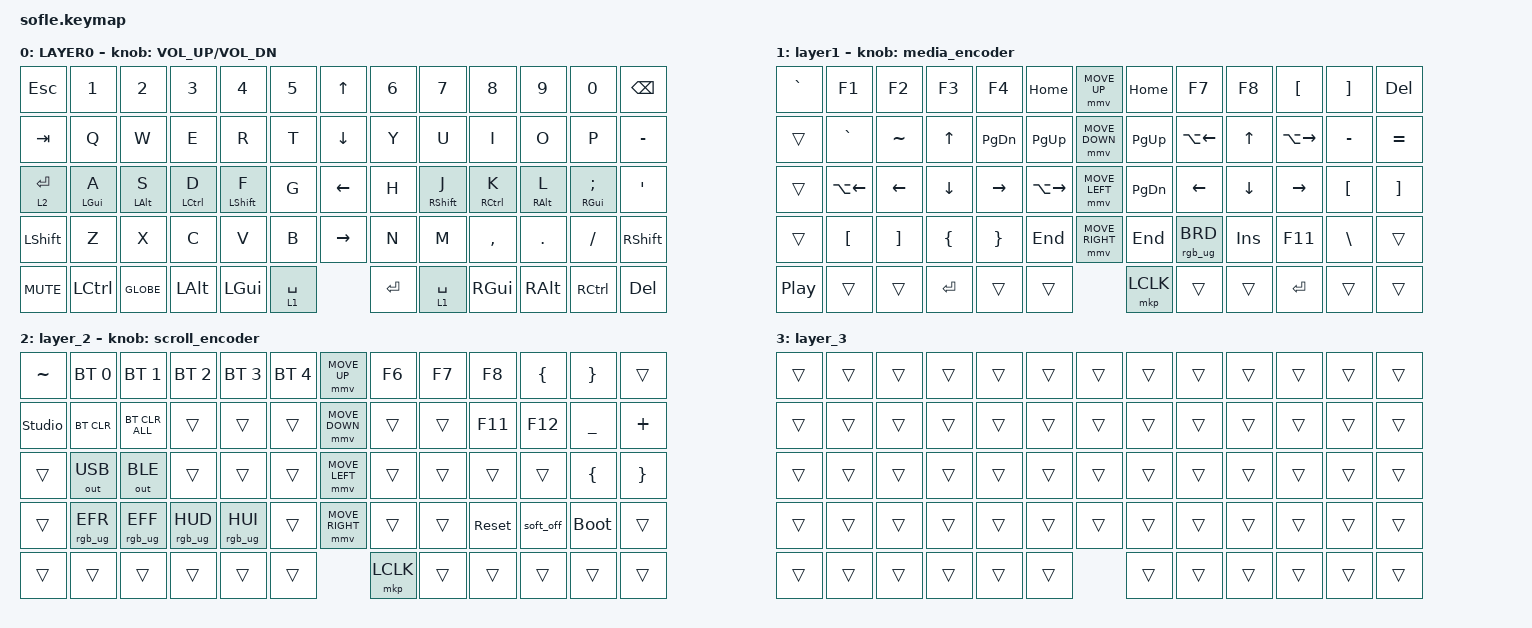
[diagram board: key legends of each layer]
#include <behaviors/mouse_keys.dtsi>
#include <dt-bindings/zmk/mouse.h>
#include <behaviors.dtsi>
#include <dt-bindings/zmk/bt.h>
#include <dt-bindings/zmk/keys.h>
#include <dt-bindings/zmk/outputs.h>
#include <dt-bindings/zmk/pointing.h>
#include <dt-bindings/zmk/pointing.h>
#include <dt-bindings/zmk/pointing.h>
#include <dt-bindings/zmk/rgb.h>

#define ZMK_MOUSE_DEFAULT_MOVE_VAL 6000  // 10x default for 3 monitor setup
#define ZMK_MOUSE_DEFAULT_SCRL_VAL 20    // 10
#define U_MS_U &mmv MOVE_UP
#define U_MS_D &mmv MOVE_DOWN
#define U_MS_L &mmv MOVE_LEFT
#define U_MS_R &mmv MOVE_RIGHT

/ {
    behaviors {
        mmv {
            acceleration-exponent = <2>;      // Higher acceleration for faster movement
            time-to-max-speed-ms = <200>;     // Reach max speed quickly
            delay-ms = <0>;                   // No initial delay
        };

        msc {
            acceleration-exponent = <1>;      // 0
            time-to-max-speed-ms = <400>;      // 500
            delay-ms = <0>;                   //   10
        };

        // Homerow mods with 250ms tapping term (50ms longer than default)
        hm_l: homerow_mods_left {
            compatible = "zmk,behavior-hold-tap";
            #binding-cells = <2>;
            tapping-term-ms = <250>;
            quick-tap-ms = <0>;
            flavor = "tap-preferred";
            bindings = <&kp>, <&kp>;
        };

        hm_r: homerow_mods_right {
            compatible = "zmk,behavior-hold-tap";
            #binding-cells = <2>;
            tapping-term-ms = <250>;
            quick-tap-ms = <0>;
            flavor = "tap-preferred";
            bindings = <&kp>, <&kp>;
        };

        // Space tap / Layer 1 hold
        spc_layer: space_layer {
            compatible = "zmk,behavior-hold-tap";
            #binding-cells = <2>;
            tapping-term-ms = <250>;
            quick-tap-ms = <200>;
            flavor = "tap-preferred";
            bindings = <&mo>, <&kp>;
        };

        // Alt tap / Enter hold
        alt_enter: alt_enter {
            compatible = "zmk,behavior-hold-tap";
            #binding-cells = <2>;
            tapping-term-ms = <250>;
            quick-tap-ms = <0>;
            flavor = "tap-preferred";
            bindings = <&kp>, <&kp>;
        };

        // Caps tap / Layer 2 hold
        caps_layer2: caps_layer2 {
            compatible = "zmk,behavior-hold-tap";
            #binding-cells = <2>;
            tapping-term-ms = <250>;
            quick-tap-ms = <0>;
            flavor = "tap-preferred";
            bindings = <&mo>, <&kp>;
        };
    };

    scroll_encoder: scroll_encoder {
        compatible = "zmk,behavior-sensor-rotate";
        #sensor-binding-cells = <0>;
        bindings = <&msc SCRL_DOWN>, <&msc SCRL_UP>;

        tap-ms = <30>;
    };

    rgb_brightness_encoder: rgb_brightness_encoder {
        compatible = "zmk,behavior-sensor-rotate";
        #sensor-binding-cells = <0>;
        bindings = <&rgb_ug RGB_BRD>, <&rgb_ug RGB_BRI>;

        tap-ms = <30>;
    };

    media_encoder: media_encoder {
        compatible = "zmk,behavior-sensor-rotate";
        #sensor-binding-cells = <0>;
        bindings = <&kp C_NEXT>, <&kp C_PREV>;

        tap-ms = <30>;
    };

    keymap {
        compatible = "zmk,keymap";

        layer0 {
            bindings = <
&kp ESC     &kp N1     &kp N2        &kp N3        &kp N4  &kp N5       &kp UP_ARROW     &kp N6     &kp N7     &kp N8     &kp N9           &kp N0      &kp BACKSPACE
&kp TAB     &kp Q      &kp W         &kp E         &kp R   &kp T        &kp DOWN_ARROW   &kp Y      &kp U      &kp I      &kp O            &kp P       &kp MINUS
&caps_layer2 2 ENTER    &hm_l LGUI A  &hm_l LALT S  &hm_l LCTRL D  &hm_l LSHFT F   &kp G        &kp LEFT_ARROW   &kp H      &hm_r RSHFT J  &hm_r RCTRL K  &hm_r RALT L     &hm_r RGUI SEMI  &kp APOS
&kp LSHFT   &kp Z      &kp X         &kp C         &kp V   &kp B        &kp RIGHT_ARROW  &kp N      &kp M      &kp COMMA  &kp DOT          &kp FSLH    &kp RSHFT
&kp C_MUTE  &kp LCTRL  &kp GLOBE  &kp LALT  &kp LGUI   &spc_layer 1 SPACE   &kp ENTER        &spc_layer 1 SPACE  &kp RGUI  &kp RALT      &kp RCTRL        &kp DELETE
            >;

            sensor-bindings = <&inc_dec_kp C_VOLUME_UP C_VOL_DN>;
            display-name = "LAYER0";   
        };

        layer_1 {
            bindings = <
&kp GRAVE   &kp F1           &kp F2          &kp F3           &kp F4           &kp HOME         &mmv MOVE_UP     &kp HOME         &kp F7           &kp F8           &kp LEFT_BRACKET     &kp RIGHT_BRACKET     &kp DELETE
&trans      &kp GRAVE        &kp TILDE       &kp UP_ARROW     &kp PG_DN        &kp PG_UP        &mmv MOVE_DOWN   &kp PG_UP        &kp LA(LEFT)     &kp UP      &kp LA(RIGHT)   &kp MINUS         &kp EQUAL
&trans      &kp LA(LEFT)     &kp LEFT_ARROW  &kp DOWN_ARROW   &kp RIGHT_ARROW  &kp LA(RIGHT)    &mmv MOVE_LEFT   &kp PG_DN        &kp LEFT         &kp DOWN    &kp RIGHT  &kp LEFT_BRACKET  &kp RIGHT_BRACKET
&trans      &kp LBKT         &kp RBKT        &kp LBRC         &kp RBRC         &kp END          &mmv MOVE_RIGHT  &kp END          &rgb_ug RGB_BRD  &kp INSERT  &kp F11    &kp BSLH          &trans
&kp C_PP    &trans           &trans          &kp ENTER        &trans           &trans             &mkp LCLK        &trans           &trans           &kp ENTER   &trans     &trans
            >;

            display-name = "layer1";
            sensor-bindings = <&media_encoder>;
        };

        layer_2 {
            bindings = <
&kp TILDE       &bt BT_SEL 0  &bt BT_SEL 1    &bt BT_SEL 2  &bt BT_SEL 3  &bt BT_SEL 4    &mmv MOVE_UP     &kp F6  &kp F7  &kp F8      &kp LBRC      &kp RBRC     &trans
&studio_unlock  &bt BT_CLR    &bt BT_CLR_ALL  &trans        &trans        &trans          &mmv MOVE_DOWN   &trans  &trans  &kp F11     &kp F12    &kp UNDER    &kp PLUS
&trans          &out OUT_USB  &out OUT_BLE    &trans        &trans        &trans          &mmv MOVE_LEFT   &trans  &trans  &trans      &trans     &kp LBRC     &kp RBRC
&trans          &rgb_ug RGB_EFR   &rgb_ug RGB_EFF &rgb_ug RGB_HUD &rgb_ug RGB_HUI &trans          &mmv MOVE_RIGHT  &trans  &trans  &sys_reset  &soft_off  &bootloader  &trans
&trans          &trans        &trans          &trans        &trans        &trans          &mkp LCLK        &trans  &trans  &trans      &trans     &trans
            >;

            sensor-bindings = <&scroll_encoder>;
        };

        layer_3 {
            bindings = <
&trans  &trans  &trans  &trans  &trans  &trans    &trans  &trans  &trans  &trans  &trans  &trans  &trans
&trans  &trans  &trans  &trans  &trans  &trans    &trans  &trans  &trans  &trans  &trans  &trans  &trans
&trans  &trans  &trans  &trans  &trans  &trans    &trans  &trans  &trans  &trans  &trans  &trans  &trans
&trans  &trans  &trans  &trans  &trans  &trans    &trans  &trans  &trans  &trans  &trans  &trans  &trans
&trans  &trans  &trans  &trans  &trans  &trans    &trans  &trans  &trans  &trans  &trans  &trans
            >;
        };
    };
};
